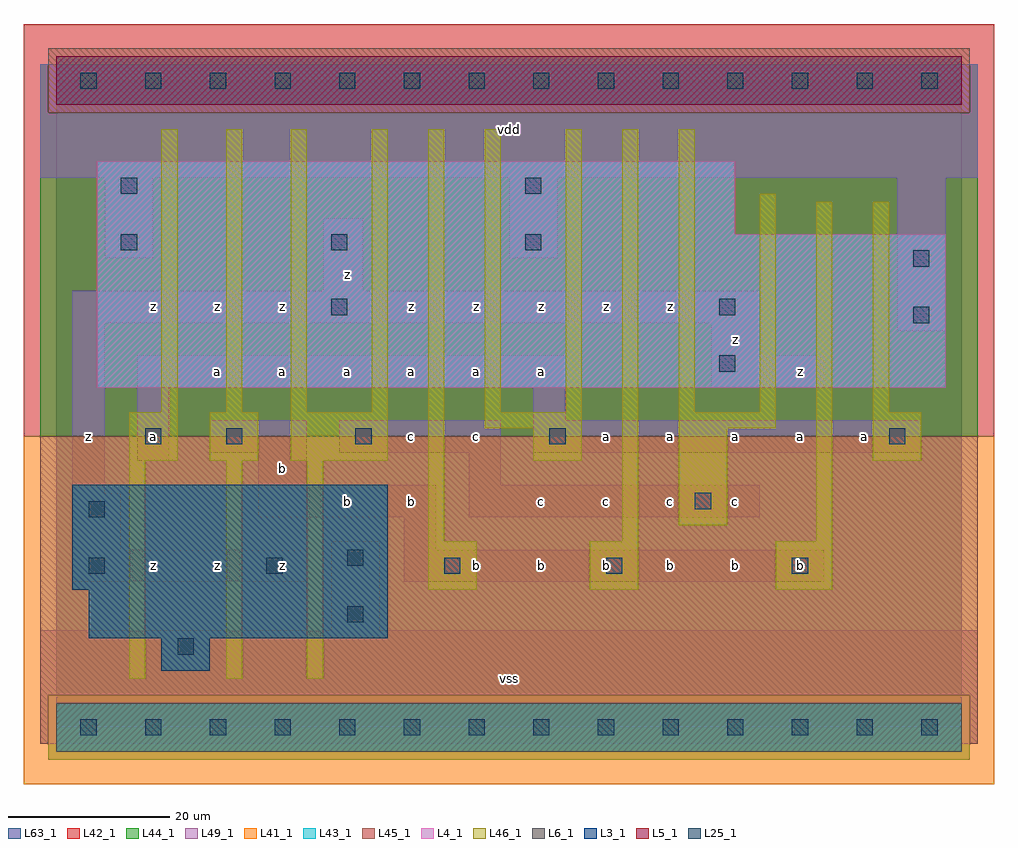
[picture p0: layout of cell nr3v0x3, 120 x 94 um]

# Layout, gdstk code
import gdstk
lib = gdstk.Library(unit=1e-6, precision=1e-09)
def R(c, l, rs):  # rectangles x0, y0, x1, y1
    for r in rs: c.add(gdstk.rectangle(r[:2], r[2:], *l))
def A(c, l, x, y, w, h, nx, ny, dx, dy):  # array of equal rectangles
    R(c, l, [(x+i*dx, y+j*dy, x+i*dx+w, y+j*dy+h) for i in range(nx) for j in range(ny)])
L3_1 = (3, 1)
L4_1 = (4, 1)
L5_1 = (5, 1)
L6_1 = (6, 1)
L25_1 = (25, 1)
L41_1 = (41, 1)
L42_1 = (42, 1)
L43_1 = (43, 1)
L44_1 = (44, 1)
L45_1 = (45, 1)
L46_1 = (46, 1)
L49_1 = (49, 1)
L63_1 = (63, 1)

nr3v0x3 = lib.new_cell('nr3v0x3')
R(nr3v0x3, L3_1, [(13,7,19,11), (4,11,41,17), (2,17,41,30)])
R(nr3v0x3, L4_1, [(5,42,110,61), (5,61,84,70)])
R(nr3v0x3, L5_1, [(0,77,112,83)])
R(nr3v0x3, L6_1, [(0,-3,112,3), (0,-3,112,3)])
A(nr3v0x3, L25_1, 3, -1, 2, 2, 14, 2, 8, 80)
A(nr3v0x3, L25_1, 4, 19, 2, 2, 3, 1, 22, 0)
R(nr3v0x3, L25_1, [(15,9,17,11), (36,13,38,15), (68,19,70,21), (91,19,93,21), (36,20,38,22), (4,26,6,28), (79,27,81,29), (11,35,13,37), (21,35,23,37), (37,35,39,37), (61,35,63,37), (103,35,105,37), (82,44,84,46), (106,50,108,52), (34,51,36,53), (82,51,84,53), (106,57,108,59), (8,59,10,61), (34,59,36,61), (58,59,60,61), (8,66,10,68), (58,66,60,68)])
R(nr3v0x3, L41_1, [(-4,-7,116,36)])
R(nr3v0x3, L42_1, [(-4,36,116,87)])
R(nr3v0x3, L43_1, [(0,-3,112,3), (13,7,19,11), (4,11,41,17), (2,17,41,30), (5,42,110,61), (5,61,84,70), (0,77,112,83)])
R(nr3v0x3, L44_1, [(-1,-4,113,4), (-2,36,114,76), (-2,76,-1,82), (113,76,114,82)])
R(nr3v0x3, L45_1, [(-2,-2,-1,4), (113,-2,114,4), (-2,4,114,36), (-1,76,113,84)])
A(nr3v0x3, L46_1, 13, 39, 2, 35, 3, 1, 8, 0)
R(nr3v0x3, L46_1, [(9,6,11,33), (21,6,23,33), (31,6,33,33), (46,17,52,23), (66,17,72,23), (89,17,96,23), (46,23,48,74), (70,23,72,74), (94,23,96,65), (77,25,83,37), (9,33,15,39), (19,33,25,39), (29,33,41,39), (59,33,65,37), (101,33,107,39), (53,37,65,39), (77,37,89,39), (39,39,41,74), (53,39,55,74), (63,39,65,74), (77,39,79,74), (87,39,89,66), (101,39,103,65)])
R(nr3v0x3, L49_1, [(-2,-2,114,12), (34,12,40,23), (2,18,31,22), (43,18,95,22), (2,22,8,29), (43,22,47,26), (25,26,47,30), (51,26,87,30), (2,29,6,50), (25,30,31,34), (51,30,55,34), (10,33,14,42), (19,34,31,38), (35,34,55,38), (59,34,107,38), (59,38,63,42), (10,42,63,46), (81,42,95,46), (81,46,87,50), (104,49,110,68), (2,50,87,54), (33,54,38,63), (6,58,12,68), (56,58,62,68), (-2,68,114,82)])
R(nr3v0x3, L63_1, [(0,0,112,80)])
nr3v0x3.add(gdstk.Label('z', (12,20), layer=49, texttype=1))
nr3v0x3.add(gdstk.Label('a', (12,36), layer=49, texttype=1))
nr3v0x3.add(gdstk.Label('z', (4,36), layer=49, texttype=1))
nr3v0x3.add(gdstk.Label('z', (12,52), layer=49, texttype=1))
nr3v0x3.add(gdstk.Label('z', (20,20), layer=49, texttype=1))
nr3v0x3.add(gdstk.Label('z', (28,20), layer=49, texttype=1))
nr3v0x3.add(gdstk.Label('b', (28,32), layer=49, texttype=1))
nr3v0x3.add(gdstk.Label('a', (28,44), layer=49, texttype=1))
nr3v0x3.add(gdstk.Label('a', (20,44), layer=49, texttype=1))
nr3v0x3.add(gdstk.Label('z', (20,52), layer=49, texttype=1))
nr3v0x3.add(gdstk.Label('z', (28,52), layer=49, texttype=1))
nr3v0x3.add(gdstk.Label('b', (52,20), layer=49, texttype=1))
nr3v0x3.add(gdstk.Label('b', (44,28), layer=49, texttype=1))
nr3v0x3.add(gdstk.Label('b', (36,28), layer=49, texttype=1))
nr3v0x3.add(gdstk.Label('c', (52,36), layer=49, texttype=1))
nr3v0x3.add(gdstk.Label('c', (44,36), layer=49, texttype=1))
nr3v0x3.add(gdstk.Label('a', (44,44), layer=49, texttype=1))
nr3v0x3.add(gdstk.Label('a', (52,44), layer=49, texttype=1))
nr3v0x3.add(gdstk.Label('a', (36,44), layer=49, texttype=1))
nr3v0x3.add(gdstk.Label('z', (44,52), layer=49, texttype=1))
nr3v0x3.add(gdstk.Label('z', (52,52), layer=49, texttype=1))
nr3v0x3.add(gdstk.Label('z', (36,56), layer=49, texttype=1))
nr3v0x3.add(gdstk.Label('vss', (56,6), layer=49, texttype=1))
nr3v0x3.add(gdstk.Label('b', (68,20), layer=49, texttype=1))
nr3v0x3.add(gdstk.Label('b', (60,20), layer=49, texttype=1))
nr3v0x3.add(gdstk.Label('c', (60,28), layer=49, texttype=1))
nr3v0x3.add(gdstk.Label('c', (68,28), layer=49, texttype=1))
nr3v0x3.add(gdstk.Label('a', (68,36), layer=49, texttype=1))
nr3v0x3.add(gdstk.Label('a', (60,44), layer=49, texttype=1))
nr3v0x3.add(gdstk.Label('z', (68,52), layer=49, texttype=1))
nr3v0x3.add(gdstk.Label('z', (60,52), layer=49, texttype=1))
nr3v0x3.add(gdstk.Label('vdd', (56,74), layer=49, texttype=1))
nr3v0x3.add(gdstk.Label('b', (76,20), layer=49, texttype=1))
nr3v0x3.add(gdstk.Label('b', (92,20), layer=49, texttype=1))
nr3v0x3.add(gdstk.Label('b', (84,20), layer=49, texttype=1))
nr3v0x3.add(gdstk.Label('c', (84,28), layer=49, texttype=1))
nr3v0x3.add(gdstk.Label('c', (76,28), layer=49, texttype=1))
nr3v0x3.add(gdstk.Label('a', (76,36), layer=49, texttype=1))
nr3v0x3.add(gdstk.Label('a', (92,36), layer=49, texttype=1))
nr3v0x3.add(gdstk.Label('a', (84,36), layer=49, texttype=1))
nr3v0x3.add(gdstk.Label('z', (92,44), layer=49, texttype=1))
nr3v0x3.add(gdstk.Label('z', (76,52), layer=49, texttype=1))
nr3v0x3.add(gdstk.Label('z', (84,48), layer=49, texttype=1))
nr3v0x3.add(gdstk.Label('a', (100,36), layer=49, texttype=1))

lib.write_gds('nr3v0x3.gds')
